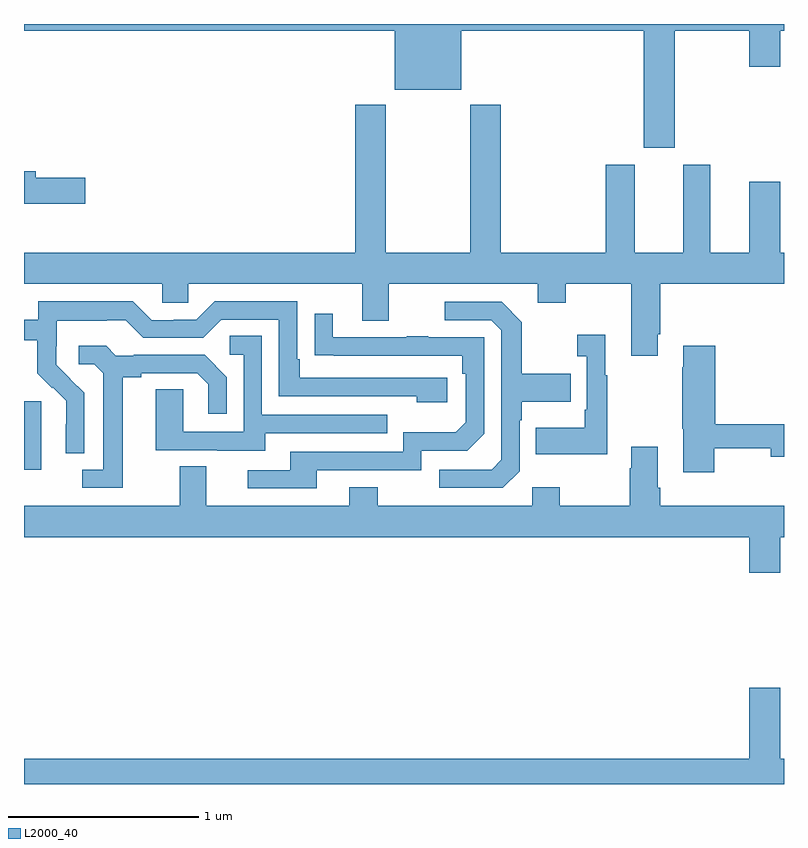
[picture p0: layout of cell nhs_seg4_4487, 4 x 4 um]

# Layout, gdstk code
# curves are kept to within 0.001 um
import gdstk
lib = gdstk.Library(unit=1e-6, precision=1e-09)
def R(c, l, rs):  # rectangles x0, y0, x1, y1
    for r in rs: c.add(gdstk.rectangle(r[:2], r[2:], *l))
def P(c, l, *ps):  # polygons
    for p in ps: c.add(gdstk.Polygon(p, *l))
L2000_40 = (2000, 40)

nhs_seg4_4487 = lib.new_cell('nhs_seg4_4487')
R(nhs_seg4_4487, L2000_40, [(353,750.554,353.092,750.915)])
P(nhs_seg4_4487, L2000_40, [(356.425,752.864),(356.816,752.864),(356.816,752.676),(356.98,752.676),(356.98,752.864),(357,752.864),(357,752.9),(353,752.9),(353,752.864),(354.95,752.864),(354.95,752.555),(355.3,752.555),(355.3,752.864),(356.261,752.864),(356.261,752.25),(356.425,752.25)],
  [(356.335,751.267),(356.348,751.267),(356.348,751.532),(357,751.532),(357,751.696),(356.98,751.696),(356.98,752.071),(356.816,752.071),(356.816,751.696),(356.611,751.696),(356.611,752.158),(356.471,752.158),(356.471,751.696),(356.215,751.696),(356.215,752.158),(356.063,752.158),(356.063,751.696),(355.508,751.696),(355.508,752.476),(355.348,752.476),(355.348,751.696),(354.903,751.696),(354.903,752.476),(354.743,752.476),(354.743,751.696),(353,751.696),(353,751.532),(353.727,751.532),(353.727,751.434),(353.865,751.434),(353.865,751.532),(354.779,751.532),(354.779,751.338),(354.919,751.338),(354.919,751.532),(355.703,751.532),(355.703,751.433),(355.851,751.433),(355.851,751.532),(356.195,751.532),(356.195,751.155),(356.335,751.155)],
  [(353.323,752.09),(353.062,752.09),(353.062,752.126),(353,752.126),(353,751.955),(353.323,751.955)],
  [(353.316,750.958),(353.17,751.106),(353.17,751.203),(353.172,751.203),(353.172,751.337),(353.435,751.337),(353.435,751.341),(353.535,751.341),(353.628,751.248),(353.943,751.248),(354.039,751.344),(354.342,751.344),(354.342,750.942),(355.067,750.942),(355.067,750.908),(355.228,750.908),(355.228,751.038),(354.451,751.038),(354.451,751.135),(354.438,751.135),(354.438,751.44),(354.003,751.44),(353.907,751.344),(353.789,751.344),(353.789,751.341),(353.673,751.341),(353.573,751.441),(353.076,751.441),(353.076,751.344),(353,751.344),(353,751.236),(353.071,751.236),(353.071,751.061),(353.148,750.984),(353.151,750.987),(353.222,750.917),(353.222,750.794),(353.22,750.794),(353.22,750.64),(353.316,750.64)],
  [(355.608,750.546),(355.608,750.815),(355.621,750.815),(355.621,750.911),(355.877,750.911),(355.877,751.059),(355.621,751.059),(355.621,751.331),(355.515,751.437),(355.215,751.437),(355.215,751.341),(355.458,751.341),(355.512,751.287),(355.512,750.606),(355.461,750.555),(355.185,750.555),(355.185,750.459),(355.521,750.459)],
  [(354.541,750.552),(355.092,750.552),(355.092,750.654),(355.332,750.654),(355.422,750.744),(355.422,751.251),(355.127,751.251),(355.127,751.256),(355.015,751.256),(355.015,751.251),(354.625,751.251),(354.625,751.375),(354.529,751.375),(354.529,751.156),(355.306,751.155),(355.306,751.058),(355.326,751.058),(355.326,750.804),(355.273,750.751),(354.996,750.751),(354.996,750.648),(354.401,750.648),(354.401,750.552),(354.177,750.552),(354.177,750.456),(354.541,750.456)],
  [(356.071,751.051),(356.059,751.051),(356.059,751.264),(355.911,751.264),(355.911,751.151),(355.962,751.151),(355.962,750.871),(355.95,750.871),(355.95,750.775),(355.693,750.775),(355.693,750.635),(356.071,750.635)],
  [(354.271,750.747),(354.911,750.747),(354.911,750.843),(354.252,750.843),(354.252,751.259),(354.084,751.259),(354.084,751.158),(354.156,751.158),(354.156,750.753),(353.838,750.753),(353.838,750.977),(353.693,750.977),(353.693,750.657),(354.017,750.657),(354.017,750.653),(354.271,750.653)],
  [(353.521,751.04),(353.617,751.04),(353.617,751.062),(353.912,751.062),(353.969,751.005),(353.969,750.849),(354.066,750.849),(354.066,751.042),(353.95,751.158),(353.578,751.158),(353.578,751.155),(353.484,751.155),(353.432,751.207),(353.289,751.207),(353.289,751.11),(353.37,751.11),(353.417,751.063),(353.417,750.555),(353.307,750.555),(353.307,750.459),(353.521,750.459)],
  [(356.634,750.666),(356.93,750.666),(356.93,750.623),(357,750.623),(357,750.794),(356.639,750.794),(356.639,751.207),(356.471,751.207),(356.471,751.094),(356.464,751.094),(356.464,750.771),(356.471,750.771),(356.471,750.54),(356.634,750.54)],
  [(356.98,750.2),(357,750.2),(357,750.364),(356.348,750.364),(356.348,750.46),(356.335,750.46),(356.335,750.676),(356.195,750.676),(356.195,750.563),(356.188,750.563),(356.188,750.364),(355.821,750.364),(355.821,750.463),(355.674,750.463),(355.674,750.364),(354.861,750.364),(354.861,750.463),(354.713,750.463),(354.713,750.364),(353.959,750.364),(353.959,750.572),(353.819,750.572),(353.819,750.364),(353,750.364),(353,750.2),(356.816,750.2),(356.816,750.012),(356.98,750.012)],
  [(357,749.032),(356.98,749.032),(356.98,749.407),(356.816,749.407),(356.816,749.032),(353,749.032),(353,748.9),(357,748.9)])

lib.write_gds('nhs_seg4_4487.gds')
